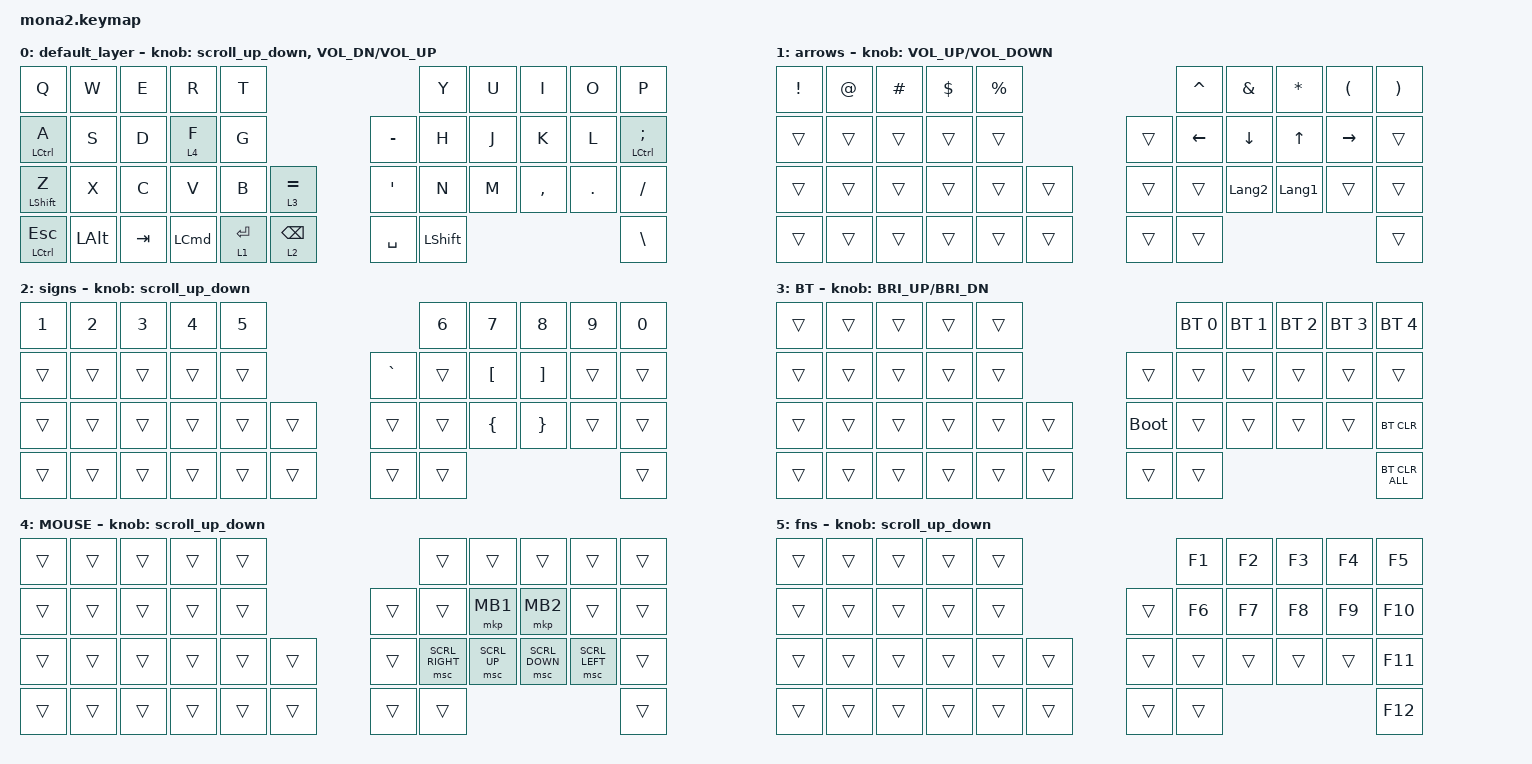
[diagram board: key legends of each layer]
#include <input/processors.dtsi>
#include <dt-bindings/zmk/input_transform.h>
#include <zephyr/dt-bindings/input/input-event-codes.h>
#include <behaviors.dtsi>
#include <dt-bindings/zmk/bt.h>
#include <dt-bindings/zmk/keys.h>
#include <dt-bindings/zmk/pointing.h>

#define ZMK_POINTING_DEFAULT_SCRL_VAL 100
#define MOUSE 5
#define SCROLL 6

&mt {
    flavor = "balanced";
    quick-tap-ms = <0>;
};

&lt {
    flavor = "balanced";
    tapping-term-ms = <200>;
};

/ {
    combos { compatible = "zmk,combos"; };

    macros {
        to_layer_0: to_layer_0 {
            compatible = "zmk,behavior-macro-one-param";
            #binding-cells = <1>;
            bindings = <&to 0 &macro_param_1to1 &kp MACRO_PLACEHOLDER>;
            label = "TO_LAYER_0";
        };
    };

    behaviors {
        lt_to_layer_0: lt_to_layer_0 {
            compatible = "zmk,behavior-hold-tap";
            label = "LAYER_TAP_TO_0";
            bindings = <&mo>, <&to_layer_0>;

            #binding-cells = <2>;
            tapping-term-ms = <200>;
        };

        scroll_up_down: behavior_sensor_rotate_mouse_wheel_up_down {
            compatible = "zmk,behavior-sensor-rotate";
            #sensor-binding-cells = <0>;
            bindings = <&msc SCRL_UP>, <&msc SCRL_DOWN>;

            tap-ms = <20>;
        };

        zoom_in_out: behavior_sensor_rotate_zoom {
            compatible = "zmk,behavior-sensor-rotate";
            #sensor-binding-cells = <0>;
            bindings = <&kp LG(EQUAL)>, <&kp LG(MINUS)>;

            tap-ms = <20>;
        };
    };

    keymap {
        compatible = "zmk,keymap";

        default_layer {
            bindings = <
&kp Q                    &kp W         &kp E    &kp R             &kp T                                             &kp Y           &kp U  &kp I      &kp O    &kp P
&mt LCTRL A              &kp S         &kp D    &lt 4 F           &kp G                           &kp MINUS         &kp H           &kp J  &kp K      &kp L    &mt LCTRL SEMI
&mt LEFT_SHIFT Z         &kp X         &kp C    &kp V             &kp B        &lt 3 EQUAL        &kp SINGLE_QUOTE  &kp N           &kp M  &kp COMMA  &kp DOT  &kp SLASH
&mt LEFT_CONTROL ESCAPE  &kp LEFT_ALT  &kp TAB  &kp LEFT_COMMAND  &lt 1 ENTER  &lt 2 BACKSPACE    &kp SPACE         &kp LEFT_SHIFT                             &kp BACKSLASH
            >;

            sensor-bindings =
                <&scroll_up_down>,
                <&inc_dec_kp C_VOL_DN C_VOL_UP>;
        };

        arrows {
            bindings = <
&kp EXCL  &kp AT  &kp HASH  &kp DOLLAR  &kp PERCENT                    &kp CARET       &kp AMPS        &kp ASTRK       &kp LEFT_PARENTHESIS  &kp RIGHT_PARENTHESIS
&trans    &trans  &trans    &trans      &trans                 &trans  &kp LEFT_ARROW  &kp DOWN_ARROW  &kp UP_ARROW    &kp RIGHT_ARROW       &trans
&trans    &trans  &trans    &trans      &trans       &trans    &trans  &trans          &kp LANGUAGE_2  &kp LANGUAGE_1  &trans                &trans
&trans    &trans  &trans    &trans      &trans       &trans    &trans  &trans                                                                &trans
            >;

            sensor-bindings = <&inc_dec_kp C_VOLUME_UP C_VOLUME_DOWN>;
        };

        signs {
            bindings = <
&kp N1  &kp N2  &kp N3  &kp N4  &kp N5                       &kp N6  &kp N7            &kp N8             &kp N9  &kp N0
&trans  &trans  &trans  &trans  &trans            &kp GRAVE  &trans  &kp LEFT_BRACKET  &kp RIGHT_BRACKET  &trans  &trans
&trans  &trans  &trans  &trans  &trans  &trans    &trans     &trans  &kp LEFT_BRACE    &kp RIGHT_BRACE    &trans  &trans
&trans  &trans  &trans  &trans  &trans  &trans    &trans     &trans                                               &trans
            >;

            sensor-bindings = <&scroll_up_down>;
        };

        BT {
            bindings = <
&trans  &trans  &trans  &trans  &trans                         &bt BT_SEL 0  &bt BT_SEL 1  &bt BT_SEL 2  &bt BT_SEL 3  &bt BT_SEL 4
&trans  &trans  &trans  &trans  &trans            &trans       &trans        &trans        &trans        &trans        &trans
&trans  &trans  &trans  &trans  &trans  &trans    &bootloader  &trans        &trans        &trans        &trans        &bt BT_CLR
&trans  &trans  &trans  &trans  &trans  &trans    &trans       &trans                                                  &bt BT_CLR_ALL
            >;

            sensor-bindings = <&inc_dec_kp C_BRI_UP C_BRI_DN>;
        };

        MOUSE {
            bindings = <
&trans  &trans  &trans  &trans  &trans                    &trans           &trans        &trans          &trans          &trans
&trans  &trans  &trans  &trans  &trans            &trans  &trans           &mkp MB1      &mkp MB2        &trans          &trans
&trans  &trans  &trans  &trans  &trans  &trans    &trans  &msc SCRL_RIGHT  &msc SCRL_UP  &msc SCRL_DOWN  &msc SCRL_LEFT  &trans
&trans  &trans  &trans  &trans  &trans  &trans    &trans  &trans                                                         &trans
            >;

            sensor-bindings = <&scroll_up_down>;
        };

        fns {
            bindings = <
&trans  &trans  &trans  &trans  &trans                    &kp F1  &kp F2  &kp F3  &kp F4  &kp F5
&trans  &trans  &trans  &trans  &trans            &trans  &kp F6  &kp F7  &kp F8  &kp F9  &kp F10
&trans  &trans  &trans  &trans  &trans  &trans    &trans  &trans  &trans  &trans  &trans  &kp F11
&trans  &trans  &trans  &trans  &trans  &trans    &trans  &trans                          &kp F12
            >;

            sensor-bindings = <&scroll_up_down>;
        };
    };
};
